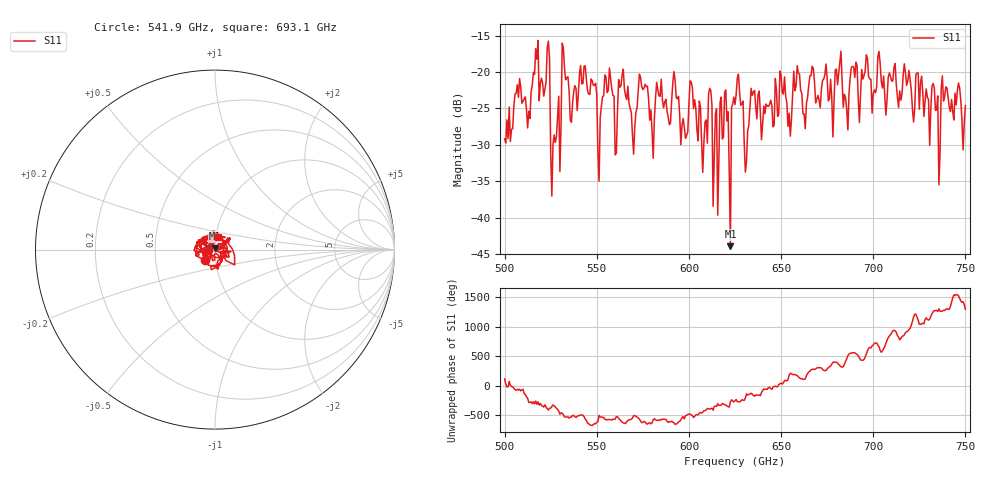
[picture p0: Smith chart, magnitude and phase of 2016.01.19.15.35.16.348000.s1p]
!Created with skrf (http://scikit-rf.org).
# GHz S RI R 50.0
!freq ReS11 ImS11
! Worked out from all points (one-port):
!   401 points, 500 GHz to 750 GHz, reference 50 ohm
!   lowest |S11| = -43.9 dB at 622.5 GHz (marker M1), VSWR 1.01, Z = 50 + j0.635 ohm
!   |S11| at or under -10 dB: start of sweep to end of sweep
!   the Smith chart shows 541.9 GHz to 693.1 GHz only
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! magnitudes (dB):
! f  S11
! 500 GHz  -29.2
! 507.5 GHz  -23.5
! 513.1 GHz  -25.4
! 516.9 GHz  -16.8
! 523.1 GHz  -16.7
! 526.2 GHz  -30.0
! 531.2 GHz  -16.0
! 548.1 GHz  -21.8
! 551.9 GHz  -26.3
! 555.6 GHz  -22.8
! 560 GHz  -31.4
! 562.5 GHz  -22.1
! 570 GHz  -31.3
! 573.8 GHz  -20.7
! 580 GHz  -28.1
! 593.8 GHz  -23.7
! 608.8 GHz  -26.8
! 611.2 GHz  -22.2
! 614.4 GHz  -25.8
! 620 GHz  -22.5
! 622.5 GHz  -43.9
! 625 GHz  -24.5
! 631.2 GHz  -32.3
! 634.4 GHz  -23.2
! 656.2 GHz  -23.3
! 687.5 GHz  -20.7
! 718.8 GHz  -21.2
! 750 GHz  -24.6
